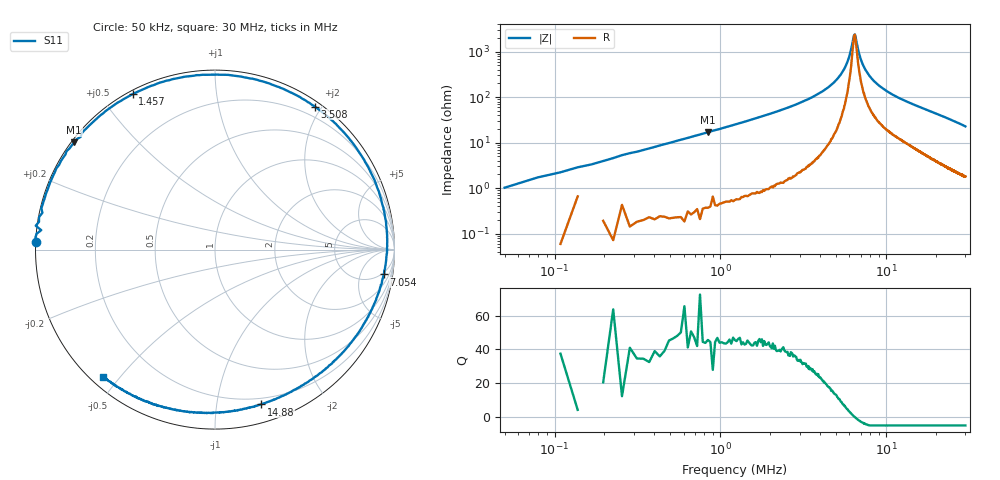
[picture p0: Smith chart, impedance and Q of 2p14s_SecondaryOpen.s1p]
# HZ S RI R 50
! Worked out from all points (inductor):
!   1023 points, 50 kHz to 30 MHz, reference 50 ohm
!   read as one part to ground: L = 3.19 uH near 196.5 kHz
!   highest Q = 45.6 at 841.2 kHz (marker M1), where L = 3.19 uH
!   self-resonance near 6.45 MHz
!   S11 on the Smith chart (normalised r, x): 50 kHz: 0.00, +0.02; 1.457 MHz: 0.01, +0.60; 3.508 MHz: 0.07, +1.92; 7.054 MHz: 4, -12; 14.88 MHz: 0.15, -1.33; 30 MHz: 0.04, -0.45
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50000  -0.9958 0.0405
167220  -0.9988 0.133
460270  -0.926 0.3528
841235  -0.7852 0.5977
1163590  -0.6236 0.7591
1456640  -0.4596 0.8663
1866910  -0.2203 0.9524
2365095  0.0585 0.9739
2921890  0.3298 0.9145
3507990  0.557 0.7964
3801040  0.6485 0.7221
4504360  0.8119 0.53
5266290  0.9154 0.3137
6116135  0.9593 0.0841
7053895  0.941 -0.1384
7552080  0.9129 -0.2376
8314010  0.8546 -0.37
9281075  0.7701 -0.5027
1.013092e7  0.6903 -0.596
1.130312e7  0.5773 -0.6951
1.300281e7  0.4198 -0.7936
1.487833e7  0.2564 -0.8628
1.502486e7  0.2443 -0.8653
1.669524e7  0.1091 -0.8988
1.87759e7  -0.0479 -0.9096
2.252694e7  -0.2872 -0.8778
2.627798e7  -0.475 -0.8026
2.999971e7  -0.6213 -0.7076
